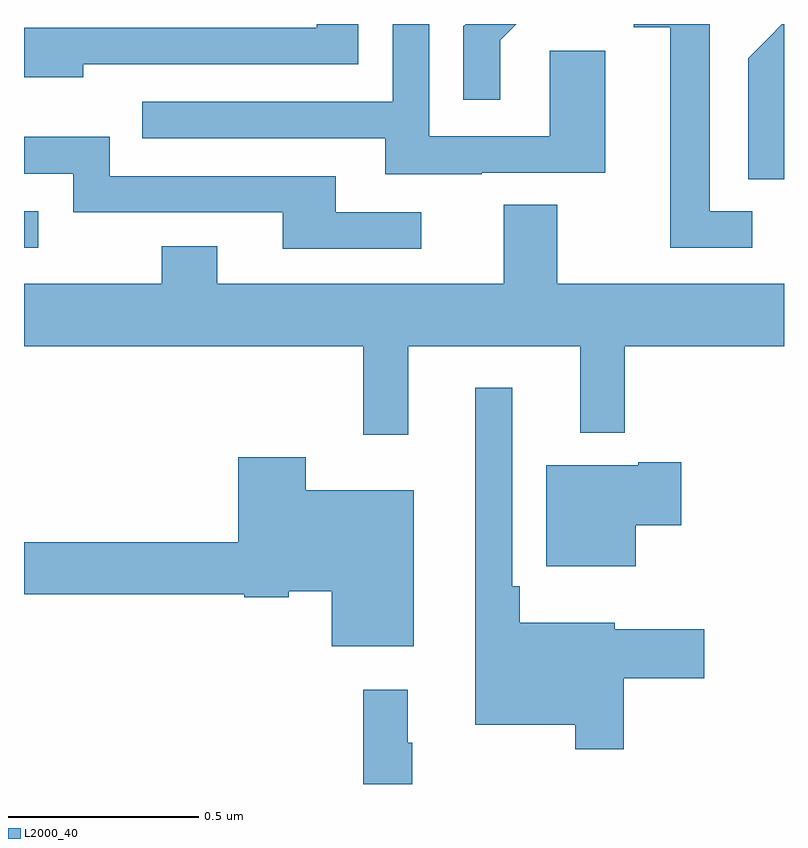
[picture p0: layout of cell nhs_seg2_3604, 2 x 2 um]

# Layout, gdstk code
import gdstk
lib = gdstk.Library(unit=1e-6, precision=1e-09)
def R(c, l, rs):  # rectangles x0, y0, x1, y1
    for r in rs: c.add(gdstk.rectangle(r[:2], r[2:], *l))
def P(c, l, *ps):  # polygons
    for p in ps: c.add(gdstk.Polygon(p, *l))
L2000_40 = (2000, 40)

nhs_seg2_3604 = lib.new_cell('nhs_seg2_3604')
R(nhs_seg2_3604, L2000_40, [(155,665.211,155.038,665.307)])
P(nhs_seg2_3604, L2000_40, [(156.253,665.757),(156.296,665.8),(156.162,665.8),(156.156,665.794),(156.156,665.601),(156.253,665.601)],
  [(156.916,665.307),(156.805,665.307),(156.805,665.8),(156.605,665.8),(156.605,665.792),(156.701,665.792),(156.701,665.211),(156.916,665.211)],
  [(155.156,665.694),(155.88,665.694),(155.88,665.8),(155.771,665.8),(155.771,665.79),(155,665.79),(155,665.66),(155.156,665.66)],
  [(157,665.8),(156.994,665.8),(156.978,665.784),(156.979,665.783),(156.906,665.71),(156.906,665.392),(157,665.392)],
  [(156.205,665.409),(156.529,665.409),(156.529,665.729),(156.384,665.729),(156.384,665.505),(156.066,665.505),(156.066,665.8),(155.97,665.8),(155.97,665.595),(155.311,665.595),(155.311,665.499),(155.951,665.499),(155.951,665.405),(156.205,665.405)],
  [(156.046,665.304),(155.821,665.304),(155.821,665.4),(155.226,665.4),(155.226,665.503),(155,665.503),(155,665.406),(155.13,665.406),(155.13,665.304),(155.681,665.304),(155.681,665.208),(156.046,665.208)],
  [(156.011,664.952),(156.464,664.952),(156.464,664.724),(156.581,664.724),(156.581,664.952),(157,664.952),(157,665.116),(156.403,665.116),(156.403,665.324),(156.263,665.324),(156.263,665.116),(155.509,665.116),(155.509,665.215),(155.362,665.215),(155.362,665.116),(155,665.116),(155,664.952),(155.893,664.952),(155.893,664.719),(156.011,664.719)],
  [(156.578,664.078),(156.79,664.078),(156.79,664.207),(156.555,664.207),(156.555,664.225),(156.305,664.225),(156.305,664.321),(156.285,664.321),(156.285,664.843),(156.188,664.843),(156.188,663.956),(156.45,663.956),(156.45,663.891),(156.578,663.891)],
  [(156.025,664.573),(155.742,664.573),(155.742,664.66),(155.564,664.66),(155.564,664.436),(155,664.436),(155,664.3),(155.58,664.3),(155.58,664.292),(155.697,664.292),(155.697,664.307),(155.81,664.307),(155.81,664.163),(156.025,664.163)],
  [(156.61,664.481),(156.73,664.481),(156.73,664.647),(156.617,664.647),(156.617,664.639),(156.374,664.639),(156.374,664.373),(156.61,664.373)],
  [(156.022,663.908),(156.01,663.908),(156.01,664.048),(155.893,664.048),(155.893,663.8),(156.022,663.8)])

lib.write_gds('nhs_seg2_3604.gds')
